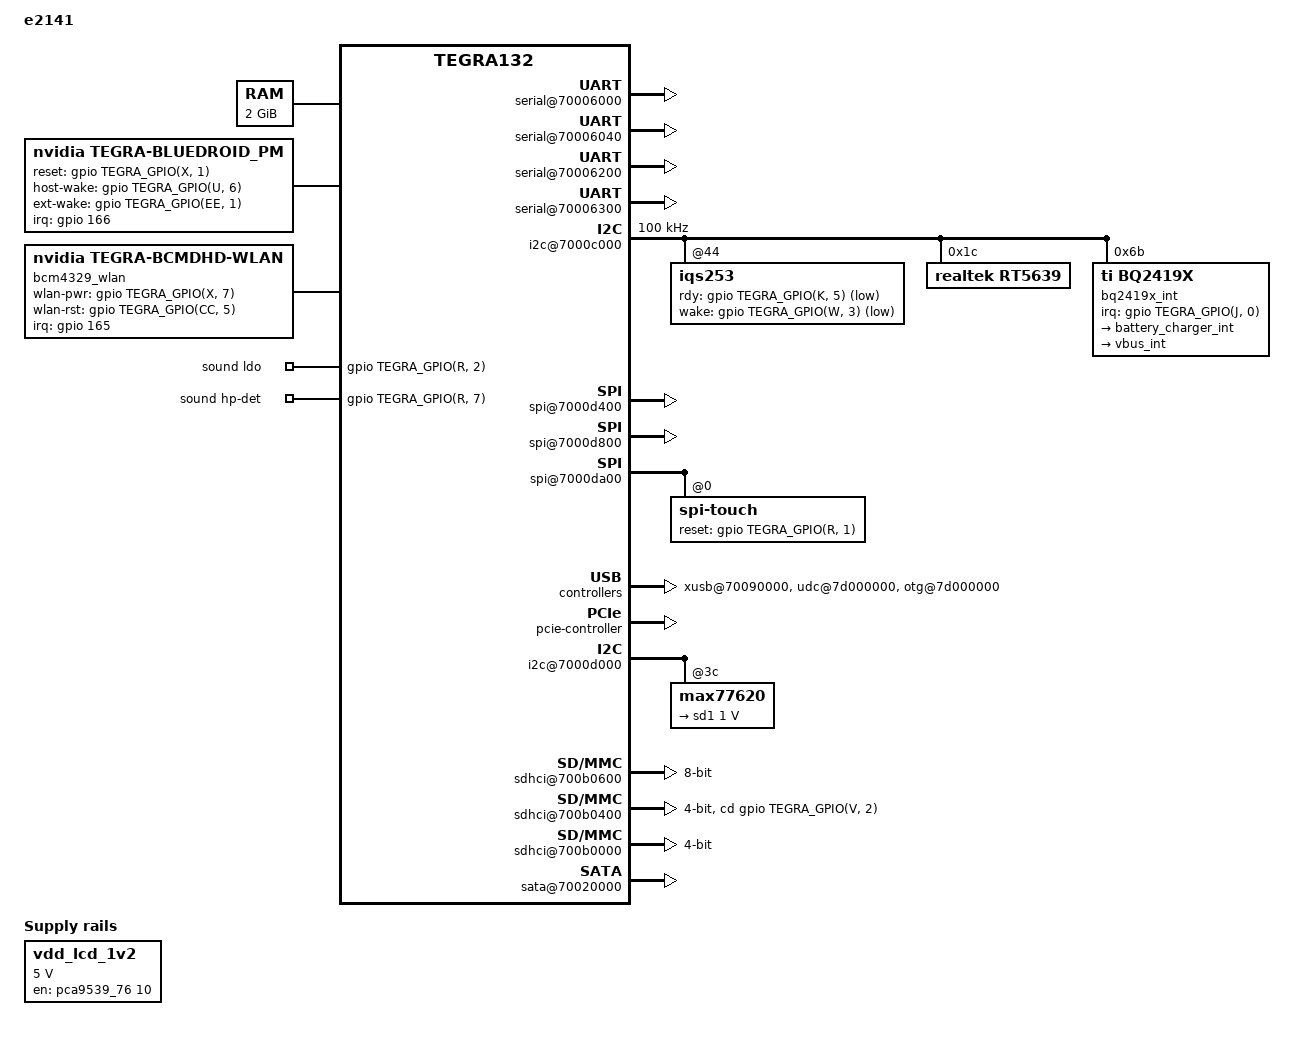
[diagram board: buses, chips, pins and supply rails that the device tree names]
/*
 * Copyright (c) 2014, NVIDIA CORPORATION.  All rights reserved.
 *
 * This program is free software; you can redistribute it and/or modify
 * it under the terms of the GNU General Public License as published by
 * the Free Software Foundation; either version 2 of the License, or
 * (at your option) any later version.
 *
 * This program is distributed in the hope that it will be useful, but WITHOUT
 * ANY WARRANTY; without even the implied warranty of MERCHANTABILITY or
 * FITNESS FOR A PARTICULAR PURPOSE.  See the GNU General Public License for
 * more details.
 *
 * You should have received a copy of the GNU General Public License along
 * with this program; if not, write to the Free Software Foundation, Inc.,
 * 51 Franklin Street, Fifth Floor, Boston, MA  02110-1301, USA.
 */

/dts-v1/;

#include "tegra132.dtsi"
#include "tegra132-platforms/tegra132-interposer-gpio-e2141-1100-a00.dtsi"
#include "tegra132-platforms/tegra132-interposer-pinmux-e2141-1100-a00.dtsi"
#include "tegra132-platforms/tegra132-interposer-camera-e2162-1000-a00.dtsi"
#include "tegra210-platforms/tegra210-e2141-e2174-dfll.dtsi"
#include "tegra210-platforms/tegra132-interposer-power-tree-e2174-1101-a00.dtsi"
#include "tegra210-platforms/tegra210-ers-keys-e2141-1100-a00.dtsi"
#include "tegra210-platforms/tegra210-ers-sensor-e2160-1000-a00.dtsi"
#include "tegra210-platforms/tegra210-e2141-powermon-e2174-1100-a00.dtsi"
#include "tegra210-platforms/tegra210-ers-extgpio-e2141-1100-a00.dtsi"
#include "tegra132-bowmore-e1971-emc.dtsi"
#include "tegra210-platforms/tegra210-ers-touch-e1937-1000-a00.dtsi"
/ {
	model = "e2141";
	compatible = "nvidia,e2141", "nvidia,tegra132";
	nvidia,boardids = "2141:1100:00;2174:1101:00";
	nvidia,dtsfilename = __FILE__;
	nvidia,proc-boardid = "2141:1100:00";
	nvidia,pmu-boardid = "2174:1101:00";
	#address-cells = <2>;
	#size-cells = <2>;

	chosen {
		bootargs = "tegraid=40.0.0.00.00 vmalloc=256M video=tegrafb console=ttyS0,115200n8";
		linux,initrd-start = <0x82080000>;
		linux,initrd-end = <0x824B5300>;
	};

	serial@70006000 {
		compatible = "nvidia,tegra20-uart";
		console-port;
		sqa-automation-port;
		status = "okay";
	};

	serial@70006040 {
		compatible = "nvidia,tegra114-hsuart";
		status = "okay";
	};

	serial@70006200 {
		compatible = "nvidia,tegra114-hsuart";
		status = "okay";
	};

	serial@70006300 {
		compatible = "nvidia,tegra114-hsuart";
		status = "okay";
	};

	i2c@7000c000 {
		clock-frequency = <100000>;

	};

	memory@0x80000000 {
		device_type = "memory";
		reg = <0x0 0x80000000 0x0 0x80000000>;
	};

	spi@7000d400 {
		status = "okay";
		spi-max-frequency = <25000000>;
	};

	spi@7000d800 {
		status = "okay";
		spi-max-frequency = <25000000>;
	};

	spi@7000da00 {
		status = "okay";
		spi-max-frequency = <12000000>;
		spi-touch@0 {
			interrupts = <TEGRA_GPIO(K, 2) 0x01>; /* GPIO_PX1 */
			reset-gpio = <&gpio TEGRA_GPIO(R, 1) 0>; /* GPIO_PV6 */
		};
	};

	xusb@70090000 {
		/* nvidia,uses_external_pmic;
		nvidia,gpio_controls_muxed_ss_lanes; */
		nvidia,gpio_ss1_sata = <0>;
		nvidia,portmap = <0x703>; /* SSP0, SSP1 USB2P0, USB2P1, USBP2 */
		nvidia,ss_portmap = <0x20>; /* SSP0 on USB2P0, SSP1 on USB2P2 */
		nvidia,lane_owner = <6>; /* USB3P0 USB3P1 */
		nvidia,ulpicap = <0>; /* No ulpi support. can we remove */
		/* hsic config values in order defined in structure */
		nvidia,hsic0 = /bits/8 <0x1 0x1 0x8 0xa 0 0 1 0x22 0>;
		status = "okay";
	};

	pcie-controller {
		nvidia,hot-plug-gpio = <&gpio TEGRA_GPIO(O, 1) 0>; /* Fix me! */
		nvidia,wake-gpio = <&gpio TEGRA_GPIO(DD, 3) 0>;
		status = "okay";

		pci@1,0 {
			status = "okay";
		};

		pci@2,0 {
			status = "okay";
		};
	};

	dfll@70040084 {
		pwm-pmic-integration {
			pwm-data-gpio = <&gpio TEGRA_GPIO(X, 0) 0>;
		};
	};

	pwm_regulators {
		pwm-regulator@0 {
			standby-gpio = <&gpio TEGRA_GPIO(X, 2) 0>;
		};
	};

	regulators {
		regulator@3 {
			gpio = <&gpio TEGRA_GPIO(H, 2) 0>;
		};

		regulator@4 {
			gpio = <&gpio TEGRA_GPIO(R, 0) 0>;
		};

		regulator@5 {
			gpio = <&gpio TEGRA_GPIO(BB, 3) 0>;
			consumers {
				c1 {
					regulator-consumer-supply = "vif";
					regulator-consumer-device = "2-0036";
				};
				c2 {
					regulator-consumer-supply = "vif";
					regulator-consumer-device = "2-0010";
				};
				c3 {
					regulator-consumer-supply = "vdd_i2c";
					regulator-consumer-device = "2-000c";
				};
				c4 {
					regulator-consumer-supply = "vi2c";
					regulator-consumer-device = "2-0030";
				};
				c5 {
					regulator-consumer-supply = "vif";
					regulator-consumer-device = "2-001a";
				};
			};
		};

		regulator@7 {
			gpio = <&gpio TEGRA_GPIO(K, 6) 0>;
		};

		vdd_lcd_1v2: regulator@100 {
			compatible = "regulator-fixed-sync";
			reg = <100>;
			regulator-name = "lcd_1v2";
			regulator-min-microvolt = <5000000>;
			regulator-max-microvolt = <5000000>;
			gpio = <&pca9539_76 10 0>;
			enable-active-high;

			consumers {
				c0 {
					regulator-consumer-supply = "vdd_lcd_1v2_s";
				};
			};
		};
	};

	/* Add regulator for Camera module E2162 */
	i2c@7000d000 {
		max77620: max77620@3c {
			regulators {
				max77620_ldo3: ldo3 {
					consumers {
						c1 {
							regulator-consumer-supply = "vana";
							regulator-consumer-device = "2-0036";
						};
						c2 {
							regulator-consumer-supply = "vana";
							regulator-consumer-device = "2-0010";
						};
						c3 {
							regulator-consumer-supply = "vin";
							regulator-consumer-device = "2-0030";
						};
						c4 {
							regulator-consumer-supply = "vdd";
							regulator-consumer-device = "2-000c";
						};
						c5 {
							regulator-consumer-supply = "vana";
							regulator-consumer-device = "2-001a";
						};
					};
				};
			};
		};
	};

	gpio-keys {
		home {
			gpios = <&gpio TEGRA_GPIO(Q, 2) GPIO_ACTIVE_LOW>;
		};

		power {
			gpios = <&gpio TEGRA_GPIO(Q, 0) GPIO_ACTIVE_LOW>;
		};

		volume_down {
			gpios = <&gpio TEGRA_GPIO(Q, 7) GPIO_ACTIVE_LOW>;
		};

		volume_up {
			gpios = <&gpio TEGRA_GPIO(I, 1) GPIO_ACTIVE_LOW>;
		};
	};

	i2c@7000d000 {
		max77620@3c {
			regulators {
				sd1 {
					regulator-min-microvolt = <1000000>; /*for max77663 on inter
poser*/
					regulator-max-microvolt = <1000000>; /*the real ouput will b
e 1.2V*/
				};
			};
		};
	};

	i2c@7000c000 {
		iqs253@44 {
			rdy-gpio = <&gpio TEGRA_GPIO(K, 5) GPIO_ACTIVE_LOW>;
			wake-gpio = <&gpio TEGRA_GPIO(W, 3) GPIO_ACTIVE_LOW>;
		};

		rt5639: rt5639@1c {
			compatible = "realtek,rt5639";
			reg = <0x1c>;
		};

		/* T210 interposer use I2C0 for Charger & FG */
		bq2419x_int: battery-charger@6b {
			compatible = "ti,bq2419x";
			reg = <0x6b>;

			interrupt-parent = <&gpio>;
			interrupts = <TEGRA_GPIO(J, 0) 0x0>;
			#extcon-cells = <1>;

			battery_charger_int: charger {
				status = "disabled";
				regulator-name = "batt_regulator";
				regulator-max-microamp = <3000000>;
				ti,watchdog-timeout = <40>;
				ti,rtc-alarm-time = <3600>;
				ti,auto-recharge-time = <1800>;
				ti,disbale-suspend-during-charging;
				ti,charge-voltage-limit-millivolt = <4200>;
				ti,charge-term-current-limit-milliamp = <260>;
				ti,temp-range = <10 15 60>;
				ti,charge-current-limit = <1024 2048 5200>;
				ti,thermal-zone = "battery";
				ti,temp-polling-time-sec = <5>;
				ti,ir-comp-voltage-millivolt = <1>;
				ti,ir-comp-resister-ohm = <70>;
			};

			vbus_int: vbus {
				regulator-name = "vbus_regulator";
				ti,otg-iusb-gpio = <&gpio TEGRA_GPIO(I, 4) 0>;
				consumers {
					c1 {
						regulator-consumer-supply = "usb_vbus";
						regulator-consumer-device = "tegra-ehci.0";
					};
				};
			};
		};

		battery-gauge@55 {
			status = "disabled";
			compatible = "ti,bq27441";
			reg = <0x55>;
			ti,design-capacity = <7800>;
			ti,design-energy = <28314>;
			ti,taper-rate = <167>;
			ti,terminate-voltage = <3150>;
			ti,v-at-chg-term = <4200>;
			ti,tz-name = "battery-temp";
		};
	};

	i2c@7000c500 {
		battery-charger@6b {
			status = "disabled";
		};
	};

	pmc@7000e400 {
		status = "okay";
		nvidia,invert-interrupt;
	};

	power_states: denver_power_states {
		cc4 {
			pmstate = <0x0>;
		};
	};

	udc@7d000000 {
		nvidia,port-otg;
		nvidia,charging-supported;
		nvidia,enable-pmu-vbus-detection;
		nvidia,id-detection-type = <2>;
		extcon-cables = <&bq2419x_int 0>;
		extcon-cable-names = "vbus";
		#extcon-cells = <1>;
		avdd_usb-supply = <&vdd_3v3>;
		avdd_pll_utmip-supply = <&max77620_sd3>;
		usb_bat_chg-supply = <&battery_charger_int>;
		status = "okay";
	};

	otg@7d000000 {
		nvidia,enable-pmu-vbus-detection;
		nvidia,id-detection-type = <2>;
		nvidia,id-detection-gpio = <&max77620 0 0>;
		extcon-cables = <&bq2419x_int 0>;
		extcon-cable-names = "vbus";
		#extcon-cells = <1>;
		usb_vbus-supply = <&vbus_int>;
		status = "okay";
	};

	psy_extcon {
		compatible = "power-supply-extcon";
		power-supply,extcon-dev = "tegra-udc";
		extcon-cables = <&udc 1 &udc 2 &udc 3
				&udc 4 &udc 5 &udc 6
				&udc 7 &udc 8 &udc 9
				&udc 10 &otg 0>;
		extcon-cable-names = "usb-charger", "ta-charger", "maxim-charger",
				"qc2-charger", "downstream-charger","fast-charger",
				"slow-charger", "apple-500ma", "apple-1a",
				"apple-2a", "y-cable";
	};

	bluedroid_pm {
		compatible = "nvidia,tegra-bluedroid_pm";
		id = <0>;
		bluedroid_pm,reset-gpio = <&gpio TEGRA_GPIO(X, 1) 0>;
		bluedroid_pm,host-wake-gpio = <&gpio TEGRA_GPIO(U, 6) 0>;
		bluedroid_pm,ext-wake-gpio = <&gpio TEGRA_GPIO(EE, 1) 0>;
		interrupt-parent = <&gpio>;
		interrupts = <166 0x01>;
	};

	bcm4329_wlan {
		compatible = "nvidia,tegra-bcmdhd-wlan";
		interrupt-parent = <&gpio>;
		interrupts = <165 0x14>;
		wlan-pwr-gpio = <&gpio TEGRA_GPIO(X, 7) 0>;
		wlan-rst-gpio = <&gpio TEGRA_GPIO(CC, 5) 0>;
	};

	sound {
		compatible = "nvidia,tegra-audio-rt5639";
		nvidia,codec_name = "rt5639.0-001c";
		nvidia,codec_dai_name = "rt5639-aif1";
		nvidia,ldo-gpios = <&gpio TEGRA_GPIO(R, 2) GPIO_ACTIVE_HIGH>;
		nvidia,hp-det-gpios = <&gpio TEGRA_GPIO(R, 7) GPIO_ACTIVE_HIGH>;
		nvidia,i2s-param-hifi = <0 1 2 16 48000 2 1536000>;
		nvidia,i2s-param-bt = <1 1 0 16 8000 1 512000>;
		nvidia,i2s-param-baseband = <3 1 2 16 16000 2 1024000>;
	};

	modem {
		compatible = "nvidia,icera-i500";
		nvidia,boot-gpio = <&gpio TEGRA_GPIO(O, 5) GPIO_ACTIVE_LOW>;
		nvidia,mdm-power-report-gpio = <&gpio TEGRA_GPIO(K, 0) GPIO_ACTIVE_LOW>;
		nvidia,reset-gpio = <&gpio TEGRA_GPIO(S, 3) GPIO_ACTIVE_LOW>;
		nvidia,mdm-en-gpio = <&gpio TEGRA_GPIO(S, 4) GPIO_ACTIVE_HIGH>;
		nvidia,mdm-sar0-gpio = <&gpio TEGRA_GPIO(G, 2) GPIO_ACTIVE_LOW>;
		status = "disabled";
	};

	sdhci@700b0600 {
		tap-delay = <4>;
		trim-delay = <4>;
		max-clk-limit = <200000000>;
		ddr-clk-limit = <51000000>;
		bus-width = <8>;
		id = <3>;
		built-in;
		calib-3v3-offsets = <0x0202>;
		calib-1v8-offsets = <0x0202>;
		vddio_sdmmc-supply = <&max77620_sd3>;
		vddio_sd_slot-supply = <&vdd_3v3>;
		disable-clock-gate;
		status = "okay";
	};

	sdhci@700b0400 {
		trim-delay = <3>;
		max-clk-limit = <204000000>;
		bus-width = <4>;
		id = <2>;
		uhs-mask = <0x8>;
		calib-3v3-offsets = <0x7676>;
		calib-1v8-offsets = <0x7676>;
		cd-gpios = <&gpio TEGRA_GPIO(V, 2) GPIO_ACTIVE_HIGH>;
		vddio_sdmmc-supply = <&max77620_ldo2>;
		vddio_sd_slot-supply = <&en_vdd_sd>;
		status = "okay";
	};

	sdhci@700b0000 {
		trim-delay = <2>;
		mmc-ocr-mask = <3>;
		max-clk-limit = <136000000>;
		ddr-clk-limit = <41000000>;
		uhs-mask = <0x8>;
		bus-width = <4>;
		id = <0>;
		calib-3v3-offsets = <0x7676>;
		calib-1v8-offsets = <0x7676>;
		default_drive_type = <1>;
		vddio_sdmmc-supply = <&max77620_sd3>;
		status = "okay";
	};

	sata@70020000 {
		status = "okay";
		nvidia,pexp-gpio = <&pca9539_76 11 0>, <&pca9539_76 12 0>;
		nvidia,enable-sata-port;
		hvdd_sata-supply = <&max77620_sd3>;
		vddio_pex_sata-supply = <&max77620_sd3>;
		avdd_sata-supply = <&max77620_ldo8>;
		vdd_sata-supply = <&max77620_ldo8>;
		avdd_sata_pll-supply = <&max77620_ldo8>;
	};

};
